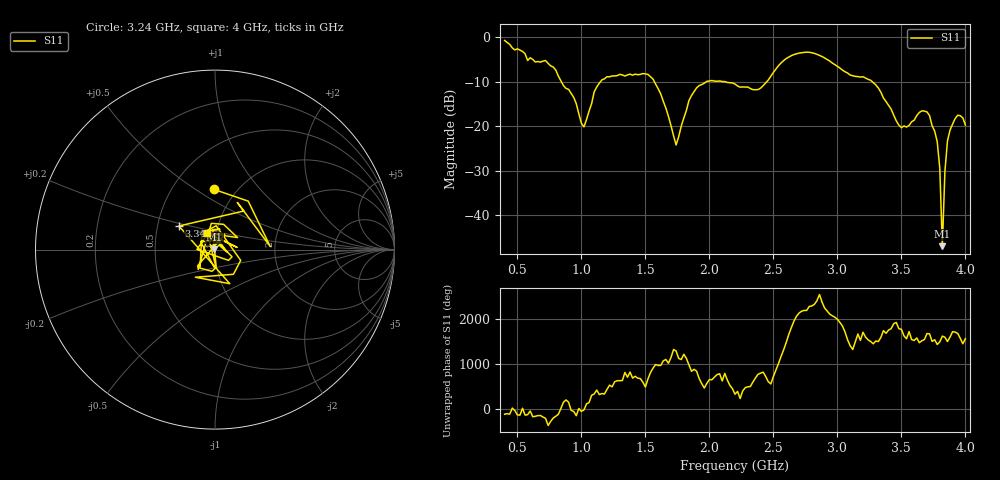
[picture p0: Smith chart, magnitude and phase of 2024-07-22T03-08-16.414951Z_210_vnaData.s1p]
!Created with skrf (http://scikit-rf.org).
# Hz S RI R 50.0
!freq ReS11 ImS11
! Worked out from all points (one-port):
!   181 points, 400 MHz to 4 GHz, reference 50 ohm
!   lowest |S11| = -46.9 dB at 3.82 GHz (marker M1), VSWR 1.01, Z = 49.6 + j0.06 ohm
!   |S11| at or under -10 dB: 1.57 GHz to 1.977 GHz (406.7 MHz wide, 22.9 % of centre); 2.12 GHz to 2.449 GHz (328.3 MHz wide, 14.4 % of centre); 3.272 GHz to end of sweep (the widest 3 of 4)
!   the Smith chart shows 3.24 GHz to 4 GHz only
!   S11 on the Smith chart (normalised r, x): 3.24 GHz: 0.79, +0.60; 3.34 GHz: 0.65, +0.18; 4 GHz: 0.90, +0.17
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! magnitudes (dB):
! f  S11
! 400 MHz  -0.8
! 580 MHz  -5.3
! 720 MHz  -5.3
! 860 MHz  -10.9
! 940 MHz  -13.5
! 1.02 GHz  -20.1
! 1.14 GHz  -10.3
! 1.3 GHz  -8.4
! 1.56 GHz  -9.4
! 1.74 GHz  -24.2
! 1.76 GHz  -22.4
! 1.9 GHz  -11.4
! 2.2 GHz  -10.5
! 2.38 GHz  -11.8
! 2.66 GHz  -3.9
! 3.1 GHz  -8.5
! 3.24 GHz  -9.5
! 3.34 GHz  -12.4
! 3.48 GHz  -19.7
! 3.56 GHz  -19.8
! 3.68 GHz  -16.6
! 3.76 GHz  -21.1
! 3.8 GHz  -29.4
! 3.82 GHz  -46.9
! 3.84 GHz  -30.2
! 3.86 GHz  -23.3
! 3.94 GHz  -17.5
! 4 GHz  -19.8
